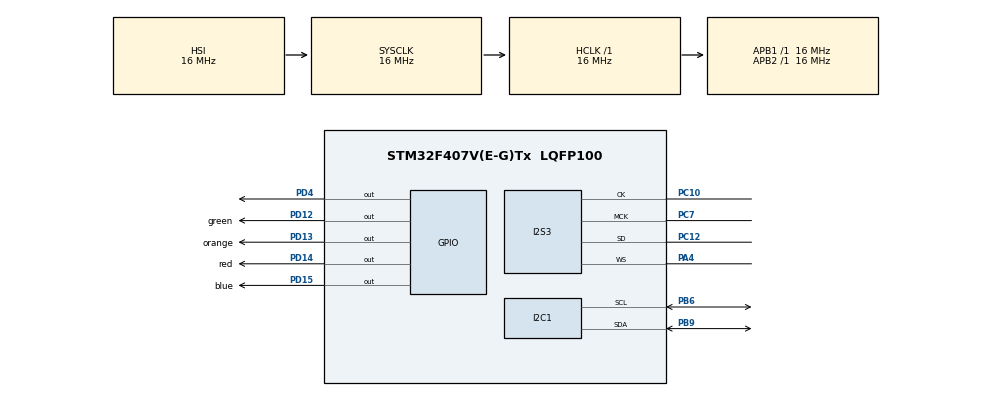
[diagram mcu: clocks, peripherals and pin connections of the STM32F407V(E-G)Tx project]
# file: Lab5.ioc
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Dma.Request0=SPI3_TX
Dma.SPI3_TX.0.Direction=DMA_MEMORY_TO_PERIPH
Dma.SPI3_TX.0.FIFOMode=DMA_FIFOMODE_ENABLE
Dma.SPI3_TX.0.FIFOThreshold=DMA_FIFO_THRESHOLD_FULL
Dma.SPI3_TX.0.Instance=DMA1_Stream5
Dma.SPI3_TX.0.MemBurst=DMA_MBURST_SINGLE
Dma.SPI3_TX.0.MemDataAlignment=DMA_MDATAALIGN_HALFWORD
Dma.SPI3_TX.0.MemInc=DMA_MINC_ENABLE
Dma.SPI3_TX.0.Mode=DMA_CIRCULAR
Dma.SPI3_TX.0.PeriphBurst=DMA_PBURST_SINGLE
Dma.SPI3_TX.0.PeriphDataAlignment=DMA_PDATAALIGN_HALFWORD
Dma.SPI3_TX.0.PeriphInc=DMA_PINC_DISABLE
Dma.SPI3_TX.0.Priority=DMA_PRIORITY_LOW
I2S3.AudioFreq=I2S_AUDIOFREQ_48K
I2S3.ErrorAudioFreq=-2.34 %
I2S3.FullDuplexMode=I2S_FULLDUPLEXMODE_DISABLE
I2S3.Instance=SPI$Index
I2S3.RealAudioFreq=46.875 KHz
I2S3.VirtualMode=I2S_MODE_MASTER
Mcu.Family=STM32F4
Mcu.Name=STM32F407V(E-G)Tx
Mcu.Package=LQFP100
NVIC.DMA1_Stream5_IRQn=true\:0\:0\:false\:false\:true\:false\:true\:true
NVIC.PriorityGroup=NVIC_PRIORITYGROUP_4
PA4.Mode=Half_Duplex_Master
PA4.Signal=I2S3_WS
PB6.Mode=I2C
PB6.Signal=I2C1_SCL
PB9.Mode=I2C
PB9.Signal=I2C1_SDA
PC10.Mode=Half_Duplex_Master
PC10.Signal=I2S3_CK
PC12.Mode=Half_Duplex_Master
PC12.Signal=I2S3_SD
PC7.Mode=Master_Clock_Activated
PC7.Signal=I2S3_MCK
PD12.GPIO_Label=green
PD12.Signal=GPIO_Output
PD13.GPIO_Label=orange
PD13.Signal=GPIO_Output
PD14.GPIO_Label=red
PD14.Signal=GPIO_Output
PD15.GPIO_Label=blue
PD15.Signal=GPIO_Output
PD4.Signal=GPIO_Output
ProjectManager.HeapSize=0x200
ProjectManager.StackSize=0x400
ProjectManager.TargetToolchain=STM32CubeIDE
RCC.AHBFreq_Value=16000000
RCC.APB1Freq_Value=16000000
RCC.APB2Freq_Value=16000000
RCC.CortexFreq_Value=16000000
RCC.HSE_VALUE=25000000
RCC.HSI_VALUE=16000000
RCC.LSE_VALUE=32768
RCC.SYSCLKFreq_VALUE=16000000
RCC.VCOOutputFreq_Value=192000000
board=custom

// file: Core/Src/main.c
/* USER CODE BEGIN Header */
/**
 ******************************************************************************
 * @file           : main.c
 * @brief          : Main program body
 ******************************************************************************
 * @attention
 *
 * Copyright (c) 2024 STMicroelectronics.
 * All rights reserved.
 *
 * This software is licensed under terms that can be found in the LICENSE file
 * in the root directory of this software component.
 * If no LICENSE file comes with this software, it is provided AS-IS.
 *
 ******************************************************************************
 */
/* USER CODE END Header */
#include "main.h"

/* USER CODE BEGIN PTD */

typedef enum {
	C4,
	C5,
	D5,
	E5,
	F5,
	G5,
	A5,
	B5,
	C6,
	D6,
	E6,
	F6,
	G6,
	A6,
	B6,
	C7,
	MAX_VALUE
} soundToneType;

/* USER CODE END PTD */

/* USER CODE BEGIN PD */
#define CS43L22_I2C_ADDRESS		0x94
#define I2C_TIMEOUT				10
/* USER CODE END PD */

I2C_HandleTypeDef hi2c1;

I2S_HandleTypeDef hi2s3;
DMA_HandleTypeDef hdma_spi3_tx;

/* USER CODE BEGIN PV */
int16_t dataI2S[100] = { 0 };
/* USER CODE END PV */

void SystemClock_Config(void);
static void MX_GPIO_Init(void);
static void MX_DMA_Init(void);
static void MX_I2C1_Init(void);
static void MX_I2S3_Init(void);

/* USER CODE BEGIN 0 */
void CS43L22_Init(void) {
	// Enable chip
	HAL_GPIO_WritePin(GPIOD, GPIO_PIN_4, GPIO_PIN_SET);

	//
	// Initialization
	//
	uint8_t TxBuffer[2];

	TxBuffer[0] = 0x0D;
	TxBuffer[1] = 0x01;
	HAL_I2C_Master_Transmit(&hi2c1, CS43L22_I2C_ADDRESS, (uint8_t*) &TxBuffer, 2, I2C_TIMEOUT);

	TxBuffer[0] = 0x00;
	TxBuffer[1] = 0x99;
	HAL_I2C_Master_Transmit(&hi2c1, CS43L22_I2C_ADDRESS, (uint8_t*) &TxBuffer, 2, I2C_TIMEOUT);

	TxBuffer[0] = 0x47;
	TxBuffer[1] = 0x80;
	HAL_I2C_Master_Transmit(&hi2c1, CS43L22_I2C_ADDRESS, (uint8_t*) &TxBuffer, 2, I2C_TIMEOUT);

	TxBuffer[0] = 0x32;
	TxBuffer[1] = 0xFF;
	HAL_I2C_Master_Transmit(&hi2c1, CS43L22_I2C_ADDRESS, (uint8_t*) &TxBuffer, 2, I2C_TIMEOUT);

	TxBuffer[0] = 0x32;
	TxBuffer[1] = 0x7F;
	HAL_I2C_Master_Transmit(&hi2c1, CS43L22_I2C_ADDRESS, (uint8_t*) &TxBuffer, 2, I2C_TIMEOUT);

	TxBuffer[0] = 0x00;
	TxBuffer[1] = 0x00;
	HAL_I2C_Master_Transmit(&hi2c1, CS43L22_I2C_ADDRESS, (uint8_t*) &TxBuffer, 2, I2C_TIMEOUT);

	TxBuffer[0] = 0x04;
	TxBuffer[1] = 0xAF;
	HAL_I2C_Master_Transmit(&hi2c1, CS43L22_I2C_ADDRESS, (uint8_t*) &TxBuffer, 2, I2C_TIMEOUT);

	TxBuffer[0] = 0x0D;
	TxBuffer[1] = 0x70;
	HAL_I2C_Master_Transmit(&hi2c1, CS43L22_I2C_ADDRESS, (uint8_t*) &TxBuffer, 2, I2C_TIMEOUT);

	TxBuffer[0] = 0x05;
	TxBuffer[1] = 0x81;
	HAL_I2C_Master_Transmit(&hi2c1, CS43L22_I2C_ADDRESS, (uint8_t*) &TxBuffer, 2, I2C_TIMEOUT);

	TxBuffer[0] = 0x06;
	TxBuffer[1] = 0x07;
	HAL_I2C_Master_Transmit(&hi2c1, CS43L22_I2C_ADDRESS, (uint8_t*) &TxBuffer, 2, I2C_TIMEOUT);

	TxBuffer[0] = 0x0A;
	TxBuffer[1] = 0x00;
	HAL_I2C_Master_Transmit(&hi2c1, CS43L22_I2C_ADDRESS, (uint8_t*) &TxBuffer, 2, I2C_TIMEOUT);

	TxBuffer[0] = 0x27;
	TxBuffer[1] = 0x00;
	HAL_I2C_Master_Transmit(&hi2c1, CS43L22_I2C_ADDRESS, (uint8_t*) &TxBuffer, 2, I2C_TIMEOUT);

	TxBuffer[0] = 0x1A;
	TxBuffer[1] = 0x0A;
	HAL_I2C_Master_Transmit(&hi2c1, CS43L22_I2C_ADDRESS, (uint8_t*) &TxBuffer, 2, I2C_TIMEOUT);

	TxBuffer[0] = 0x1B;
	TxBuffer[1] = 0x0A;
	HAL_I2C_Master_Transmit(&hi2c1, CS43L22_I2C_ADDRESS, (uint8_t*) &TxBuffer, 2, I2C_TIMEOUT);

	TxBuffer[0] = 0x1F;
	TxBuffer[1] = 0x0F;
	HAL_I2C_Master_Transmit(&hi2c1, CS43L22_I2C_ADDRESS, (uint8_t*) &TxBuffer, 2, I2C_TIMEOUT);

	TxBuffer[0] = 0x02;
	TxBuffer[1] = 0x9E;
	HAL_I2C_Master_Transmit(&hi2c1, CS43L22_I2C_ADDRESS, (uint8_t*) &TxBuffer, 2, I2C_TIMEOUT);
}

void CS43L22_Beep(soundToneType pitch, uint32_t duration_ms) {
	uint8_t TxBuffer[2];

	// Set volume and off time
	TxBuffer[0] = 0x1D;		// Register address
	TxBuffer[1] = 0x00;		// Value (volume and off time)
	HAL_I2C_Master_Transmit(&hi2c1, CS43L22_I2C_ADDRESS, (uint8_t*) &TxBuffer, 2, I2C_TIMEOUT);

	// Set sound frequency
	TxBuffer[0] = 0x1C;		// Register address
	switch (pitch) {
		case C4:
			TxBuffer[1] = 0x00;		// Value (frequency and on time)
			break;

		case C5:
			TxBuffer[1] = 0x10;
			break;

		case D5:
			TxBuffer[1] = 0x20;
			break;

		case E5:
			TxBuffer[1] = 0x30;
			break;

		case F5:
			TxBuffer[1] = 0x40;
			HAL_GPIO_WritePin(orange_GPIO_Port, orange_Pin, GPIO_PIN_SET);
			break;

		case A5:
			TxBuffer[1] = 0x60;
			HAL_GPIO_WritePin(orange_GPIO_Port, orange_Pin, GPIO_PIN_SET);
			break;

		case G5:
			TxBuffer[1] = 0x50;
			HAL_GPIO_WritePin(blue_GPIO_Port, blue_Pin, GPIO_PIN_SET);
			break;

		case D6:
			TxBuffer[1] = 0x90;
			HAL_GPIO_WritePin(blue_GPIO_Port, blue_Pin, GPIO_PIN_SET);
			break;

		case B5:
			TxBuffer[1] = 0x70;
			HAL_GPIO_WritePin(green_GPIO_Port, green_Pin, GPIO_PIN_SET);
			break;

		case C6:
			TxBuffer[1] = 0x80;
			HAL_GPIO_WritePin(red_GPIO_Port, red_Pin, GPIO_PIN_SET);
			break;

		case E6:
			TxBuffer[1] = 0xA0;
			HAL_GPIO_WritePin(green_GPIO_Port, green_Pin, GPIO_PIN_SET);
			break;

		case F6:
			TxBuffer[1] = 0xB0;
			HAL_GPIO_WritePin(red_GPIO_Port, red_Pin, GPIO_PIN_SET);
			break;

		case G6:
			TxBuffer[1] = 0xC0;
			break;

		case A6:
			TxBuffer[1] = 0xD0;
			break;

		case B6:
			TxBuffer[1] = 0xD0;
			break;

		case C7:
			TxBuffer[1] = 0xF0;
			break;

		// Assume C4 for all other cases
		case MAX_VALUE:
		default:
			TxBuffer[1] = 0x00;		// Value (frequency and on time)
			break;
	}

	HAL_I2C_Master_Transmit(&hi2c1, CS43L22_I2C_ADDRESS, (uint8_t*) &TxBuffer, 2, I2C_TIMEOUT);

	// Enable continuous mode (SOUND STARTED)
	TxBuffer[0] = 0x1E;		// Register address
	TxBuffer[1] = 0xC0;		// Value (beep and tone configuration)
	HAL_I2C_Master_Transmit(&hi2c1, CS43L22_I2C_ADDRESS, (uint8_t*) &TxBuffer, 2, I2C_TIMEOUT);

	// Playing...
	HAL_Delay(duration_ms);

	// Disable continuous mode (SOUND STOPED)
	TxBuffer[0] = 0x1E;		// Register address
	TxBuffer[1] = 0x00;		// Value (beep and tone configuration)
	HAL_I2C_Master_Transmit(&hi2c1, CS43L22_I2C_ADDRESS, (uint8_t*) &TxBuffer, 2, I2C_TIMEOUT);

	HAL_GPIO_WritePin(blue_GPIO_Port, blue_Pin, GPIO_PIN_RESET);
	HAL_GPIO_WritePin(orange_GPIO_Port, orange_Pin, GPIO_PIN_RESET);
	HAL_GPIO_WritePin(red_GPIO_Port, red_Pin, GPIO_PIN_RESET);
	HAL_GPIO_WritePin(green_GPIO_Port, green_Pin, GPIO_PIN_RESET);
}
/* USER CODE END 0 */

int main(void)
{

  /* MCU Configuration--------------------------------------------------------*/

  /* Reset of all peripherals, Initializes the Flash interface and the Systick. */
  HAL_Init();

  /* Configure the system clock */
  SystemClock_Config();

  /* Initialize all configured peripherals */
  MX_GPIO_Init();
  MX_DMA_Init();
  MX_I2C1_Init();
  MX_I2S3_Init();
  /* USER CODE BEGIN 2 */

	// Init DAC
	CS43L22_Init();

	// Transmit empty data
	HAL_I2S_Transmit_DMA(&hi2s3, (uint16_t*) dataI2S, 100);

	int counter = 0;

  /* USER CODE END 2 */

  /* Infinite loop */
  /* USER CODE BEGIN WHILE */
  while (1) {
	if (counter < 3) {
		//	C4, C5, D5, E5, F5, G5, A5, B5, C6, D6, E6, F6, G6, A6, B6, C7
		// Happy birthday music
		CS43L22_Beep(G5, 250);
		CS43L22_Beep(G5, 250);
		CS43L22_Beep(A5, 500);
		CS43L22_Beep(G5, 500);
		CS43L22_Beep(C6, 500);
		CS43L22_Beep(B5, 1000);

		CS43L22_Beep(G5, 250);
		CS43L22_Beep(G5, 250);
		CS43L22_Beep(A5, 500);
		CS43L22_Beep(G5, 500);
		CS43L22_Beep(D6, 500);
		CS43L22_Beep(C6, 1000);

		CS43L22_Beep(G5, 250);
		CS43L22_Beep(G5, 250);
		CS43L22_Beep(G6, 500);
		CS43L22_Beep(E6, 500);
		CS43L22_Beep(C6, 500);
		CS43L22_Beep(B5, 500);
		CS43L22_Beep(A5, 1000);

		CS43L22_Beep(F6, 250);
		CS43L22_Beep(F6, 250);
		CS43L22_Beep(E6, 500);
		CS43L22_Beep(C6, 500);
		CS43L22_Beep(D6, 500);
		CS43L22_Beep(C6, 1000);

		counter++;
	}
    /* USER CODE END WHILE */

	}
}

void SystemClock_Config(void)
{
  RCC_OscInitTypeDef RCC_OscInitStruct = {0};
  RCC_ClkInitTypeDef RCC_ClkInitStruct = {0};

  /** Macro to configure the PLL multiplication factor
  */
  __HAL_RCC_PLL_PLLM_CONFIG(16);

  /** Macro to configure the PLL clock source
  */
  __HAL_RCC_PLL_PLLSOURCE_CONFIG(RCC_PLLSOURCE_HSI);

  /** Configure the main internal regulator output voltage
  */
  __HAL_RCC_PWR_CLK_ENABLE();
  __HAL_PWR_VOLTAGESCALING_CONFIG(PWR_REGULATOR_VOLTAGE_SCALE1);

  /** Initializes the RCC Oscillators according to the specified parameters
  * in the RCC_OscInitTypeDef structure.
  */
  RCC_OscInitStruct.OscillatorType = RCC_OSCILLATORTYPE_HSI;
  RCC_OscInitStruct.HSIState = RCC_HSI_ON;
  RCC_OscInitStruct.HSICalibrationValue = RCC_HSICALIBRATION_DEFAULT;
  RCC_OscInitStruct.PLL.PLLState = RCC_PLL_NONE;
  RCC_OscInitStruct.PLL.PLLSource = RCC_PLLSOURCE_HSI;
  if (HAL_RCC_OscConfig(&RCC_OscInitStruct) != HAL_OK)
  {
    Error_Handler();
  }

  /** Initializes the CPU, AHB and APB buses clocks
  */
  RCC_ClkInitStruct.ClockType = RCC_CLOCKTYPE_HCLK|RCC_CLOCKTYPE_SYSCLK
                              |RCC_CLOCKTYPE_PCLK1|RCC_CLOCKTYPE_PCLK2;
  RCC_ClkInitStruct.SYSCLKSource = RCC_SYSCLKSOURCE_HSI;
  RCC_ClkInitStruct.AHBCLKDivider = RCC_SYSCLK_DIV1;
  RCC_ClkInitStruct.APB1CLKDivider = RCC_HCLK_DIV1;
  RCC_ClkInitStruct.APB2CLKDivider = RCC_HCLK_DIV1;

  if (HAL_RCC_ClockConfig(&RCC_ClkInitStruct, FLASH_LATENCY_0) != HAL_OK)
  {
    Error_Handler();
  }
}

static void MX_I2C1_Init(void)
{

  hi2c1.Instance = I2C1;
  hi2c1.Init.ClockSpeed = 100000;
  hi2c1.Init.DutyCycle = I2C_DUTYCYCLE_2;
  hi2c1.Init.OwnAddress1 = 0;
  hi2c1.Init.AddressingMode = I2C_ADDRESSINGMODE_7BIT;
  hi2c1.Init.DualAddressMode = I2C_DUALADDRESS_DISABLE;
  hi2c1.Init.OwnAddress2 = 0;
  hi2c1.Init.GeneralCallMode = I2C_GENERALCALL_DISABLE;
  hi2c1.Init.NoStretchMode = I2C_NOSTRETCH_DISABLE;
  if (HAL_I2C_Init(&hi2c1) != HAL_OK)
  {
    Error_Handler();
  }

}

static void MX_I2S3_Init(void)
{

  hi2s3.Instance = SPI3;
  hi2s3.Init.Mode = I2S_MODE_MASTER_TX;
  hi2s3.Init.Standard = I2S_STANDARD_PHILIPS;
  hi2s3.Init.DataFormat = I2S_DATAFORMAT_16B;
  hi2s3.Init.MCLKOutput = I2S_MCLKOUTPUT_ENABLE;
  hi2s3.Init.AudioFreq = I2S_AUDIOFREQ_48K;
  hi2s3.Init.CPOL = I2S_CPOL_LOW;
  hi2s3.Init.ClockSource = I2S_CLOCK_PLL;
  hi2s3.Init.FullDuplexMode = I2S_FULLDUPLEXMODE_DISABLE;
  if (HAL_I2S_Init(&hi2s3) != HAL_OK)
  {
    Error_Handler();
  }

}

static void MX_DMA_Init(void)
{

  /* DMA controller clock enable */
  __HAL_RCC_DMA1_CLK_ENABLE();

  /* DMA interrupt init */
  /* DMA1_Stream5_IRQn interrupt configuration */
  HAL_NVIC_SetPriority(DMA1_Stream5_IRQn, 0, 0);
  HAL_NVIC_EnableIRQ(DMA1_Stream5_IRQn);

}

static void MX_GPIO_Init(void)
{
  GPIO_InitTypeDef GPIO_InitStruct = {0};

  /* GPIO Ports Clock Enable */
  __HAL_RCC_GPIOA_CLK_ENABLE();
  __HAL_RCC_GPIOD_CLK_ENABLE();
  __HAL_RCC_GPIOC_CLK_ENABLE();
  __HAL_RCC_GPIOB_CLK_ENABLE();

  /*Configure GPIO pin Output Level */
  HAL_GPIO_WritePin(GPIOD, green_Pin|orange_Pin|red_Pin|blue_Pin
                          |GPIO_PIN_4, GPIO_PIN_RESET);

  /*Configure GPIO pins : green_Pin orange_Pin red_Pin blue_Pin
                           PD4 */
  GPIO_InitStruct.Pin = green_Pin|orange_Pin|red_Pin|blue_Pin
                          |GPIO_PIN_4;
  GPIO_InitStruct.Mode = GPIO_MODE_OUTPUT_PP;
  GPIO_InitStruct.Pull = GPIO_NOPULL;
  GPIO_InitStruct.Speed = GPIO_SPEED_FREQ_LOW;
  HAL_GPIO_Init(GPIOD, &GPIO_InitStruct);

}

void Error_Handler(void)
{
	__disable_irq();
	while (1) {
	}
}
